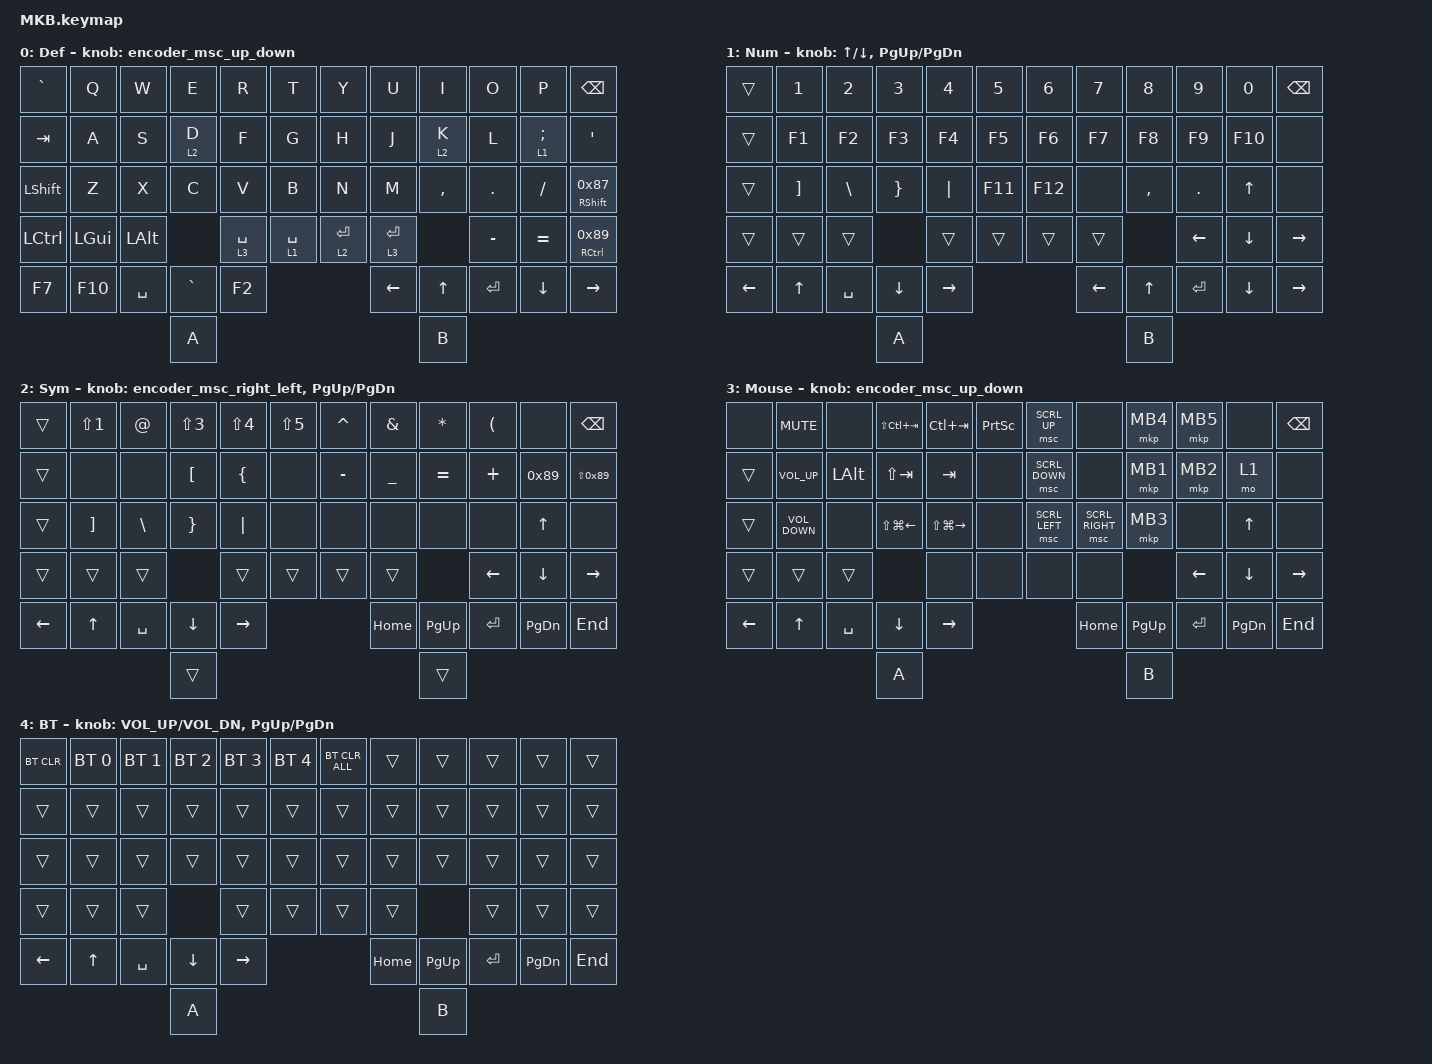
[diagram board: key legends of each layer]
// #include <layout_shift.dtsi>

#include <layout_shift_kp_override.dtsi>
#include <behaviors.dtsi>
#include <dt-bindings/zmk/bt.h>
#include <dt-bindings/zmk/keys.h>
#include <dt-bindings/zmk/pointing.h>

#define DEF 0
#define NUM 1
#define SYM 2
#define FUNC 3
#define MOUSE 4
#define SCROLL 5
#define BT 6
#define ZMK_POINTING_DEFAULT_SCRL_VAL 100

&mt {
    flavor = "balanced";
    tapping-term-ms = <280>;
    quick-tap-ms = <175>;
    require-prior-idle-ms = <150>;
};

/ {
    combos {
        compatible = "zmk,combos";

        CMB_AT_CARET {
            bindings = <&kp LEFT_BRACKET>;
            key-positions = <9 10>;
            layers = <0 1 2>;
        };

        CMB_DELETE {
            bindings = <&kp DELETE>;
            key-positions = <10 11>;
            layers = <0 1 2>;
        };

        CMB_MO_BT_LAYER {
            bindings = <&mo 4>;
            key-positions = <40 41>;
            layers = <0>;
        };

        CMB_TOG_MOUSE_LAYER {
            bindings = <&tog 3>;
            key-positions = <22 23>;
            layers = <0 1 2 3>;
        };

        CMB_INPUT_C_CPP {
            bindings = <&input_c_cpp>;
            key-positions = <27 28>;
            layers = <0>;
        };

        CMB_ESCAPE {
            bindings = <&kp ESCAPE>;
            key-positions = <0 1>;
            layers = <0>;
        };

        CMB_CAPSLOCK {
            bindings = <&kp CAPSLOCK>;
            key-positions = <12 13>;
            layers = <0>;
        };
    };

    behaviors {
        encoder_msc_up_down: encoder_msc_up_down {
            compatible = "zmk,behavior-sensor-rotate";
            #sensor-binding-cells = <0>;
            bindings = <&msc SCRL_UP>, <&msc SCRL_DOWN>;

            tap-ms = <20>;
        };

        encoder_msc_right_left: encoder_msc_right_left {
            compatible = "zmk,behavior-sensor-rotate";
            #sensor-binding-cells = <0>;
            bindings = <&msc SCRL_LEFT>, <&msc SCRL_RIGHT>;

            tap-ms = <20>;
        };
    };

    macros {
        input_c_cpp: new_macro {
            compatible = "zmk,behavior-macro";
            #binding-cells = <0>;
            bindings = <&kp LANG2 &kp LS(C) &kp FSLH &kp LS(C) &kp LS(SEMI) &kp LS(SEMI)>;
            label = "NEW_MACRO";
        };
    };

    keymap {
        compatible = "zmk,keymap";

        default_layer {
            label = "Def";
            bindings = <
&kp GRAVE  &kp Q     &kp W      &kp E      &kp R        &kp T            &kp Y        &kp U        &kp I      &kp O      &kp P       &kp BACKSPACE
&kp TAB    &kp A     &kp S      &lt 2 D    &kp F        &kp G            &kp H        &kp J        &lt 2 K    &kp L      &lt 1 SEMI  &kp SINGLE_QUOTE
&kp LSHFT  &kp Z     &kp X      &kp C      &kp V        &kp B            &kp N        &kp M        &kp COMMA  &kp DOT    &kp SLASH   &mt RSHFT 0x87
&kp LCTRL  &kp LGUI  &kp LALT              &lt 3 SPACE  &lt 1 SPACE      &lt 2 ENTER  &lt 3 ENTER             &kp MINUS  &kp EQUAL   &mt RCTRL 0x89
&kp F7     &kp F10   &kp SPACE  &kp GRAVE  &kp F2                                     &kp LEFT     &kp UP     &kp ENTER  &kp DOWN    &kp RIGHT
                                &kp A                                                              &kp B
            >;

            sensor-bindings = <&encoder_msc_up_down>;
        };

        num_layer {
            label = "Num";
            bindings = <
&trans    &kp N1             &kp N2         &kp N3           &kp N4     &kp N5       &kp N6   &kp N7    &kp N8     &kp N9     &kp N0    &kp BACKSPACE
&trans    &kp F1             &kp F2         &kp F3           &kp F4     &kp F5       &kp F6   &kp F7    &kp F8     &kp F9     &kp F10   &none
&trans    &kp RIGHT_BRACKET  &kp BACKSLASH  &kp RIGHT_BRACE  &kp PIPE   &kp F11      &kp F12  &none     &kp COMMA  &kp DOT    &kp UP    &none
&trans    &trans             &trans                          &trans     &trans       &trans   &trans               &kp LEFT   &kp DOWN  &kp RIGHT
&kp LEFT  &kp UP             &kp SPACE      &kp DOWN         &kp RIGHT                        &kp LEFT  &kp UP     &kp ENTER  &kp DOWN  &kp RIGHT
                                            &kp A                                                       &kp B
            >;

            sensor-bindings = <&inc_dec_kp UP DOWN>, <&inc_dec_kp PG_UP PG_DN>;
        };

        symbol_layer {
            label = "Sym";
            bindings = <
&trans    &kp LS(N1)         &kp AT         &kp LS(N3)        &kp LS(N4)      &kp LS(N5)      &kp CARET  &kp AMPERSAND  &kp ASTERISK  &kp LEFT_PARENTHESIS  &none      &kp BACKSPACE
&trans    &none              &none          &kp LEFT_BRACKET  &kp LEFT_BRACE  &none           &kp MINUS  &kp UNDER      &kp EQUAL     &kp PLUS              &kp 0x89   &kp LS(0x89)
&trans    &kp RIGHT_BRACKET  &kp BACKSLASH  &kp RIGHT_BRACE   &kp PIPE        &none           &none      &none          &none         &none                 &kp UP     &none
&trans    &trans             &trans                           &trans          &trans          &trans     &trans                       &kp LEFT              &kp DOWN   &kp RIGHT
&kp LEFT  &kp UP             &kp SPACE      &kp DOWN          &kp RIGHT                                  &kp HOME       &kp PG_UP     &kp RETURN            &kp PG_DN  &kp END
                                            &trans                                                                      &trans
            >;

            sensor-bindings =
                <&encoder_msc_right_left>,
                <&inc_dec_kp PG_UP PG_DN>;
        };

        mouse_layer {
            label = "Mouse";
            bindings = <
&none     &kp C_MUTE         &none      &kp LS(LC(TAB))   &kp LC(TAB)        &kp PRINTSCREEN      &msc SCRL_UP    &none            &mkp MB4   &mkp MB5   &none      &kp BACKSPACE
&trans    &kp C_VOLUME_UP    &kp LALT   &kp LS(TAB)       &kp TAB            &none                &msc SCRL_DOWN  &none            &mkp MB1   &mkp MB2   &mo 1      &none
&trans    &kp C_VOLUME_DOWN  &none      &kp LS(LG(LEFT))  &kp LS(LG(RIGHT))  &none                &msc SCRL_LEFT  &msc SCRL_RIGHT  &mkp MB3   &none      &kp UP     &none
&trans    &trans             &trans                       &none              &none                &none           &none                       &kp LEFT   &kp DOWN   &kp RIGHT
&kp LEFT  &kp UP             &kp SPACE  &kp DOWN          &kp RIGHT                                               &kp HOME         &kp PG_UP  &kp ENTER  &kp PG_DN  &kp END
                                        &kp A                                                                                      &kp B
            >;

            sensor-bindings = <&encoder_msc_up_down>;
        };

        bt_layer {
            label = "BT";
            bindings = <
&bt BT_CLR  &bt BT_SEL 0  &bt BT_SEL 1  &bt BT_SEL 2  &bt BT_SEL 3  &bt BT_SEL 4      &bt BT_CLR_ALL  &trans    &trans     &trans     &trans     &trans
&trans      &trans        &trans        &trans        &trans        &trans            &trans          &trans    &trans     &trans     &trans     &trans
&trans      &trans        &trans        &trans        &trans        &trans            &trans          &trans    &trans     &trans     &trans     &trans
&trans      &trans        &trans                      &trans        &trans            &trans          &trans               &trans     &trans     &trans
&kp LEFT    &kp UP        &kp SPACE     &kp DOWN      &kp RIGHT                                       &kp HOME  &kp PG_UP  &kp ENTER  &kp PG_DN  &kp END
                                        &kp A                                                                   &kp B
            >;

            sensor-bindings = <&inc_dec_kp C_VOL_UP C_VOL_DN &inc_dec_kp PG_UP PG_DN>;
        };
    };
};
